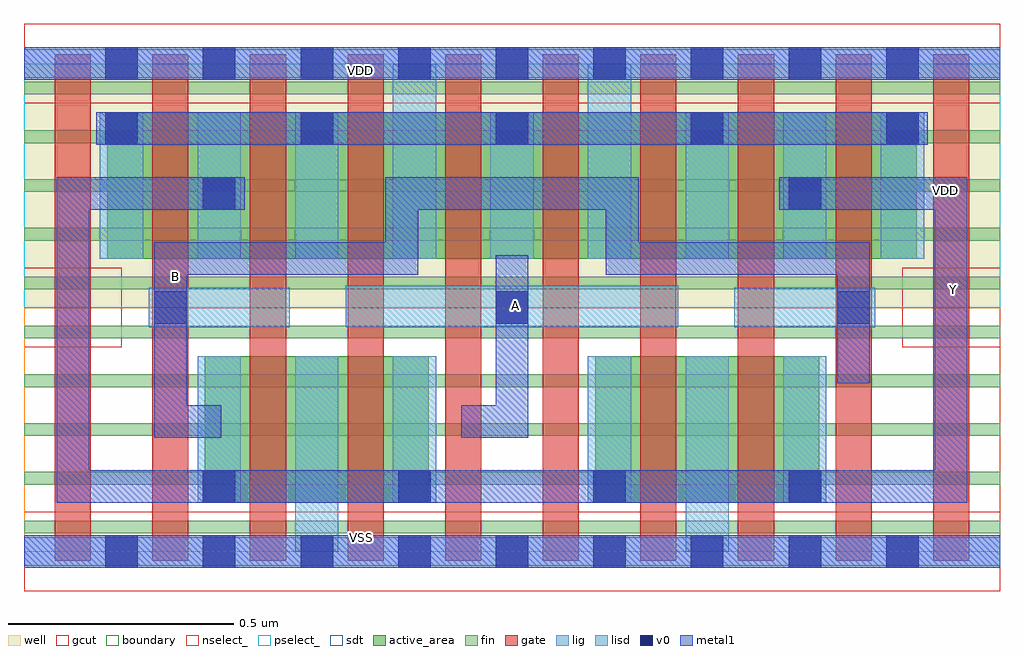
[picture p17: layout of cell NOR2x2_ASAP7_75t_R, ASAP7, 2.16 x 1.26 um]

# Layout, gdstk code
import gdstk
lib = gdstk.Library(unit=1e-6, precision=1e-09)
def R(c, l, rs):  # rectangles x0, y0, x1, y1
    for r in rs: c.add(gdstk.rectangle(r[:2], r[2:], *l))
def A(c, l, x, y, w, h, nx, ny, dx, dy):  # array of equal rectangles
    R(c, l, [(x+i*dx, y+j*dy, x+i*dx+w, y+j*dy+h) for i in range(nx) for j in range(ny)])
def P(c, l, *ps):  # polygons
    for p in ps: c.add(gdstk.Polygon(p, *l))
well = (1, 0)
fin = (2, 0)
gate = (7, 0)
gcut = (10, 0)
active_area = (11, 0)
nselect_ = (12, 0)
pselect_ = (13, 0)
lig = (16, 0)
lisd = (17, 0)
v0 = (18, 0)
metal1 = (19, 0)
sdt = (88, 0)
boundary = (100, 0)

nor2x2_asap7_75t_r = lib.new_cell('NOR2x2_ASAP7_75t_R')
R(nor2x2_asap7_75t_r, well, [(0,0.54,2.16,1.08)])
A(nor2x2_asap7_75t_r, fin, 0, 0.04, 2.16, 0.028, 1, 10, 0, 0.108)
A(nor2x2_asap7_75t_r, gate, 0.068, -0.02, 0.08, 1.12, 10, 1, 0.216, 0)
R(nor2x2_asap7_75t_r, gcut, [(0,-0.088,2.16,0.088), (0,0.452,0.216,0.628), (1.944,0.452,2.16,0.628), (0,0.992,2.16,1.168)])
R(nor2x2_asap7_75t_r, active_area, [(0.4,0.108,0.896,0.432), (1.264,0.108,1.76,0.432), (0.184,0.648,1.976,0.972)])
R(nor2x2_asap7_75t_r, nselect_, [(0,0,2.16,0.54)])
R(nor2x2_asap7_75t_r, pselect_, [(0,0.54,2.16,1.08)])
R(nor2x2_asap7_75t_r, lig, [(0,-0.032,2.16,0.032), (0.276,0.496,0.588,0.584), (0.712,0.496,1.448,0.588), (1.572,0.496,1.884,0.584), (0,1.048,2.16,1.112)])
A(nor2x2_asap7_75t_r, lisd, 0.384, 0.108, 0.096, 0.324, 4, 1, 0.432, 0)
A(nor2x2_asap7_75t_r, lisd, 0.168, 0.648, 0.096, 0.324, 3, 1, 0.216, 0)
A(nor2x2_asap7_75t_r, lisd, 1.464, 0.648, 0.096, 0.324, 3, 1, 0.216, 0)
R(nor2x2_asap7_75t_r, lisd, [(0.6,0,0.696,0.432), (1.464,0,1.56,0.432), (0.816,0.648,0.912,1.08), (1.032,0.648,1.128,0.972), (1.248,0.648,1.344,1.08)])
A(nor2x2_asap7_75t_r, v0, 0.18, -0.036, 0.072, 0.072, 9, 2, 0.216, 1.08)
A(nor2x2_asap7_75t_r, v0, 0.396, 0.108, 0.072, 0.072, 4, 1, 0.432, 0)
A(nor2x2_asap7_75t_r, v0, 0.288, 0.504, 0.072, 0.072, 3, 1, 0.756, 0)
A(nor2x2_asap7_75t_r, v0, 0.18, 0.9, 0.072, 0.072, 5, 1, 0.432, 0)
R(nor2x2_asap7_75t_r, v0, [(0.396,0.756,0.468,0.828), (1.692,0.756,1.764,0.828)])
R(nor2x2_asap7_75t_r, metal1, [(0,-0.036,2.16,0.036), (0.16,0.9,2,0.972), (0,1.044,2.16,1.116)])
P(nor2x2_asap7_75t_r, metal1, [(0.968,0.252),(0.968,0.324),(1.044,0.324),(1.044,0.656),(1.116,0.656),(1.116,0.252)],
  [(0.288,0.252),(0.288,0.684),(0.8,0.684),(0.8,0.828),(1.36,0.828),(1.36,0.684),(1.872,0.684),(1.872,0.372),(1.8,0.372),(1.8,0.612),(1.288,0.612),(1.288,0.756),(0.872,0.756),(0.872,0.612),(0.36,0.612),(0.36,0.324),(0.436,0.324),(0.436,0.252)],
  [(0.072,0.108),(0.072,0.828),(0.488,0.828),(0.488,0.756),(0.144,0.756),(0.144,0.18),(2.016,0.18),(2.016,0.756),(1.672,0.756),(1.672,0.828),(2.088,0.828),(2.088,0.108)])
A(nor2x2_asap7_75t_r, sdt, 0.384, 0.108, 0.096, 0.324, 3, 1, 0.216, 0)
A(nor2x2_asap7_75t_r, sdt, 1.248, 0.108, 0.096, 0.324, 3, 1, 0.216, 0)
A(nor2x2_asap7_75t_r, sdt, 0.168, 0.648, 0.096, 0.324, 9, 1, 0.216, 0)
R(nor2x2_asap7_75t_r, boundary, [(0,0,2.16,1.08)])
nor2x2_asap7_75t_r.add(gdstk.Label('Y', (2.056,0.58), layer=19, texttype=251))
nor2x2_asap7_75t_r.add(gdstk.Label('VSS', (0.748,0.032), layer=19, texttype=251))
nor2x2_asap7_75t_r.add(gdstk.Label('VDD', (0.744,1.064), layer=19, texttype=251))
nor2x2_asap7_75t_r.add(gdstk.Label('A', (1.088,0.544), layer=19, texttype=251))
nor2x2_asap7_75t_r.add(gdstk.Label('B', (0.336,0.608), layer=19, texttype=251))
nor2x2_asap7_75t_r.add(gdstk.Label('VDD', (2.04,0.8), layer=1, texttype=251))
nor2x2_asap7_75t_r.add(gdstk.Label('VSS', (1.74,-0.22), layer=3, texttype=251))

lib.write_gds('NOR2x2_ASAP7_75t_R.gds')
